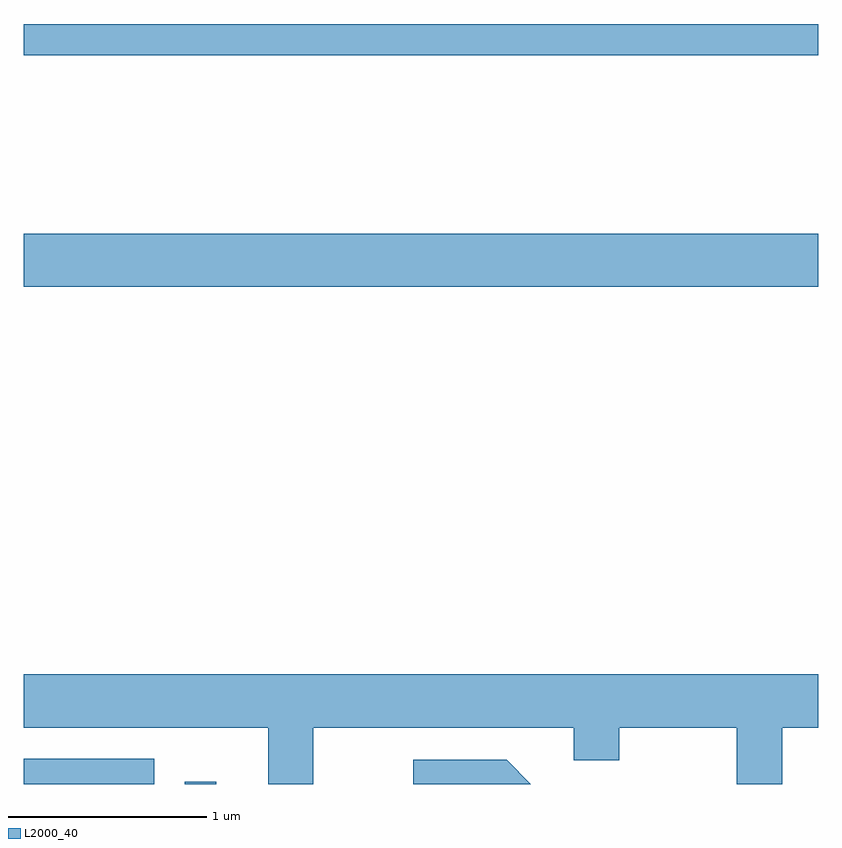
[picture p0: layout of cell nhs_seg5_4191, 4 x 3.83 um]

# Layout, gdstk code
import gdstk
lib = gdstk.Library(unit=1e-6, precision=1e-09)
def R(c, l, rs):  # rectangles x0, y0, x1, y1
    for r in rs: c.add(gdstk.rectangle(r[:2], r[2:], *l))
def P(c, l, *ps):  # polygons
    for p in ps: c.add(gdstk.Polygon(p, *l))
L2000_40 = (2000, 40)

nhs_seg5_4191 = lib.new_cell('nhs_seg5_4191')
R(nhs_seg5_4191, L2000_40, [(309.611,1452.072,310.269,1452.199), (310.421,1452.072,310.579,1452.083), (309.611,1454.576,313.611,1454.844), (309.611,1455.741,313.611,1455.899)])
P(nhs_seg5_4191, L2000_40, [(311.069,1452.356),(312.381,1452.356),(312.381,1452.191),(312.609,1452.191),(312.609,1452.356),(313.201,1452.356),(313.201,1452.072),(313.429,1452.072),(313.429,1452.356),(313.611,1452.356),(313.611,1452.624),(309.611,1452.624),(309.611,1452.356),(310.841,1452.356),(310.841,1452.072),(311.069,1452.072)],
  [(312.042,1452.194),(311.573,1452.194),(311.573,1452.072),(312.164,1452.072)])

lib.write_gds('nhs_seg5_4191.gds')
